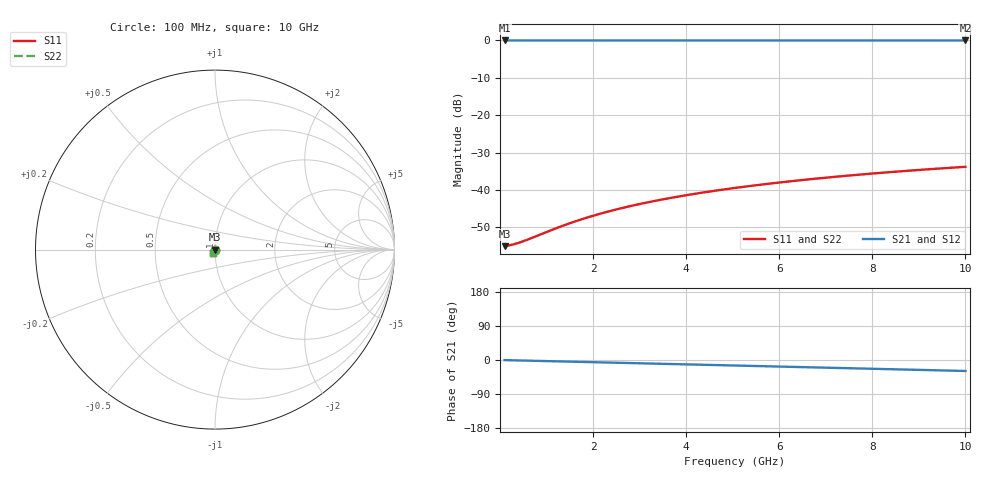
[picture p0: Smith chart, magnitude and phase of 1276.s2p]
# Hz S RI R 50.00
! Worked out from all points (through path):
!   100 points, 100 MHz to 10 GHz, reference 50 ohm
!   highest |S21| = -0.02 dB at 100 MHz (marker M1); lowest = 0.0 dB at 10 GHz (marker M2)
!   group delay of S21, straight-line fit = 8.05 ps
!   lowest |S11| = -55.0 dB at 100 MHz (marker M3), VSWR 1.00, Z = 50.2 - j0.0217 ohm
!   |S11| at or under -10 dB: start of sweep to end of sweep
!   |S22| runs from -55.0 to -33.8 dB; largest |S21 - S12| = 0
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1e8  0.00177 -0.000216  0.9982 -0.00502  0.9982 -0.00502  0.00177 -0.000216
2e8  0.00177 -0.000432  0.9982 -0.01  0.9982 -0.01  0.00177 -0.000432
3e8  0.00177 -0.000649  0.9981 -0.0151  0.9981 -0.0151  0.00177 -0.000649
4e8  0.00177 -0.000865  0.998 -0.0201  0.998 -0.0201  0.00177 -0.000865
5e8  0.00177 -0.00108  0.9979 -0.0251  0.9979 -0.0251  0.00177 -0.00108
1.3e9  0.00162 -0.00281  0.996 -0.0652  0.996 -0.0652  0.00162 -0.00281
1.5e9  0.00157 -0.00324  0.9953 -0.0752  0.9953 -0.0752  0.00157 -0.00324
1.8e9  0.00146 -0.00389  0.994 -0.0902  0.994 -0.0902  0.00146 -0.00389
2.1e9  0.00134 -0.00453  0.9925 -0.1052  0.9925 -0.1052  0.00134 -0.00453
2.5e9  0.00114 -0.00539  0.9902 -0.1252  0.9902 -0.1252  0.00114 -0.00539
2.9e9  0.000908 -0.00624  0.9874 -0.1451  0.9874 -0.1451  0.000908 -0.00624
3.4e9  0.000569 -0.00729  0.9834 -0.1699  0.9834 -0.1699  0.000569 -0.00729
3.8e9  0.00026 -0.00812  0.9798 -0.1898  0.9798 -0.1898  0.00026 -0.00812
4.2e9  -8.2e-05 -0.00894  0.9757 -0.2095  0.9757 -0.2095  -8.2e-05 -0.00894
4.6e9  -0.000457 -0.00974  0.9712 -0.2292  0.9712 -0.2292  -0.000457 -0.00974
5.1e9  -0.000972 -0.0107  0.9651 -0.2536  0.9651 -0.2536  -0.000972 -0.0107
5.9e9  -0.0019 -0.0123  0.954 -0.2925  0.954 -0.2925  -0.0019 -0.0123
6.7e9  -0.00295 -0.0137  0.9413 -0.3309  0.9413 -0.3309  -0.00295 -0.0137
7.5e9  -0.00411 -0.0151  0.927 -0.3688  0.927 -0.3688  -0.00411 -0.0151
8.4e9  -0.00554 -0.0165  0.9091 -0.4108  0.9091 -0.4108  -0.00554 -0.0165
9.2e9  -0.00691 -0.0176  0.8916 -0.4474  0.8916 -0.4474  -0.00691 -0.0176
1e10  -0.00837 -0.0187  0.8725 -0.4834  0.8725 -0.4834  -0.00837 -0.0187
